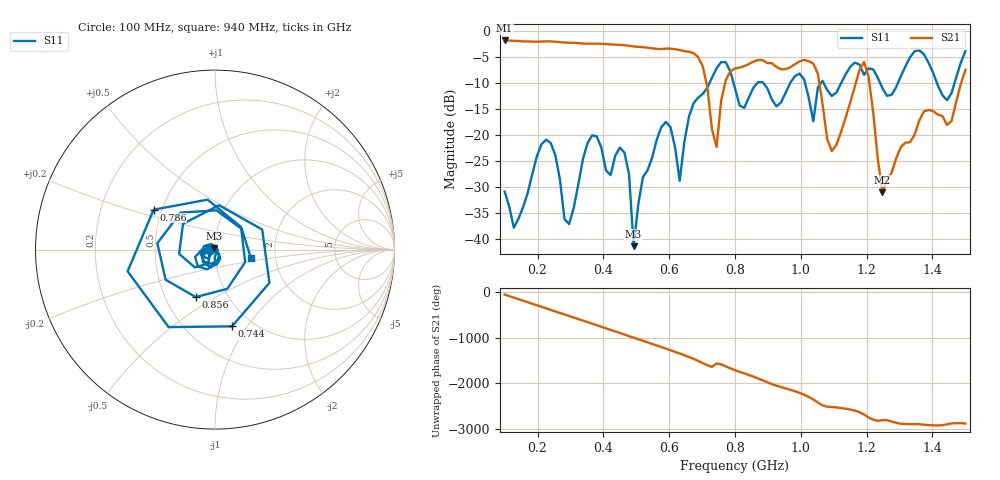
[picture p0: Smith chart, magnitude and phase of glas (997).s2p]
! NanoVNA-App
! Date: 2025-09-25 16:03:14
! Start: 100MHz Stop: 1,5GHz Points: 101
! S-Parameter data: F S11 S21 S12 S22
# Hz S RI R 50
!  Frequency  S11_Real  S11_Imag  S21_Real  S21_Imag  S12_Real  S12_Imag  S22_Real  S22_Imag
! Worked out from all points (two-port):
!   101 points, 100 MHz to 1.5 GHz, reference 50 ohm
!   highest |S21| = -1.80 dB at 100 MHz (marker M1); lowest = -31.1 dB at 1.248 GHz (marker M2)
!   |S21| within 3 dB of the highest: start of sweep to 684.4 MHz
!   lowest |S11| = -41.4 dB at 492 MHz (marker M3), VSWR 1.02, Z = 49.5 + j0.648 ohm
!   |S11| at or under -10 dB: start of sweep to 722.5 MHz; 795.6 MHz to 867.8 MHz (72.18 MHz wide, 8.68 % of centre); 886.2 MHz to 967.7 MHz (81.5 MHz wide, 8.79 % of centre) (the widest 3 of 7)
!   S12 and S22 are empty: the file has one direction only
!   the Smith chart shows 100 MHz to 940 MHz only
!   S11 on the Smith chart (normalised r, x): 100 MHz: 0.94, -0.01; 744 MHz: 0.81, -0.85; 786 MHz: 0.45, +0.24; 856 MHz: 0.71, -0.41; 940 MHz: 1.49, -0.15
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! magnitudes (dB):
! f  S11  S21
! 100 MHz  -30.9  -1.8
! 128 MHz  -37.9  -1.9
! 226 MHz  -20.9  -2.0
! 296 MHz  -37.2  -2.2
! 338 MHz  -24.7  -2.4
! 464 MHz  -23.4  -2.7
! 492 MHz  -41.4  -3.0
! 576 MHz  -18.5  -3.5
! 632 MHz  -28.8  -3.7
! 702 MHz  -12.1  -6.8
! 744 MHz  -7.2  -22.3
! 786 MHz  -7.8  -7.7
! 800 MHz  -11.0  -7.2
! 856 MHz  -10.9  -5.9
! 940 MHz  -13.7  -7.4
! 996 MHz  -8.2  -5.8
! 1.038 GHz  -17.4  -6.3
! 1.094 GHz  -12.5  -23.1
! 1.192 GHz  -8.4  -5.9
! 1.248 GHz  -11.0  -31.1
! 1.276 GHz  -12.3  -27.3
! 1.5 GHz  -3.9  -7.5
